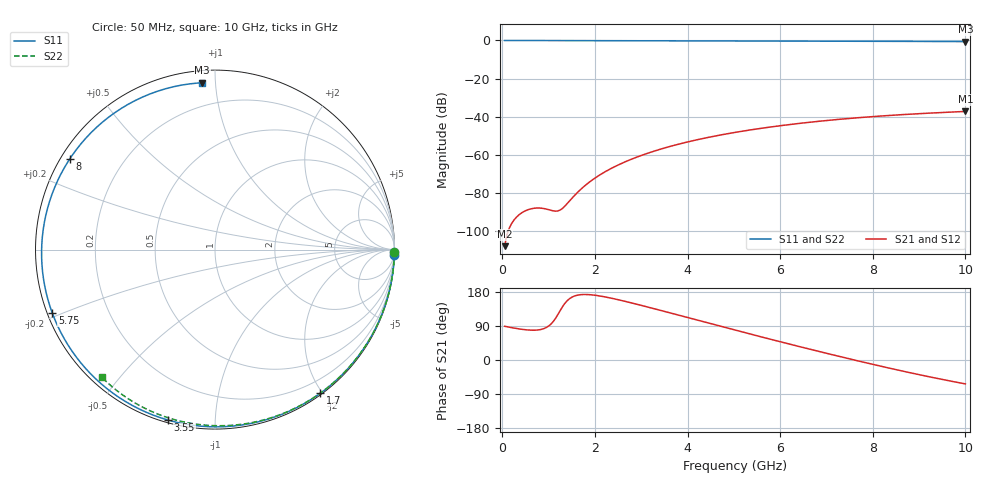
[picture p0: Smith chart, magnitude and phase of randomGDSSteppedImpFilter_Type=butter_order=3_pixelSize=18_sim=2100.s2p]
! freq	dB(S11)	phase(S11)	dB(S12)	phase(S12)
!  dB(S21)	phase(S21)	dB(S22)	phase(S22)
!S-par simulation data
#  GHz  S  DB  R 50
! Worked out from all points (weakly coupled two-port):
!   200 points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, 50 MHz to 10 GHz, reference 50 ohm
!   highest |S21| = -37.23 dB at 10 GHz (marker M1); lowest = -107.9 dB at 50 MHz (marker M2)
!   lowest |S11| = -0.6 dB at 10 GHz (marker M3), VSWR 28.55, Z = 3.25 + j46.2 ohm
!   |S11| at or under -10 dB: nowhere
!   |S22| runs from -0.4 to 0.0 dB; largest |S21 - S12| = 0
!   S11 on the Smith chart (normalised r, x): 50 MHz: 0, -70; 1.7 GHz: 0.02, -1.97; 3.55 GHz: 0.01, -0.76; 5.75 GHz: 0.01, -0.19; 8 GHz: 0.03, +0.29; 10 GHz: 0.07, +0.92
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0.05  -0.00 -1.6  -107.93 89.0  -107.93 89.0  -0.00 -0.8
0.4  -0.02 -13.0  -90.75 81.4  -90.75 81.4  -0.01 -6.1
0.8  -0.03 -25.8  -87.91 79.8  -87.91 79.8  -0.02 -12.1
1.2  -0.05 -38.4  -89.44 120.0  -89.44 120.0  -0.02 -18.1
1.6  -0.06 -50.7  -80.31 170.4  -80.31 170.4  -0.03 -24.1
1.7  -0.07 -53.7  -77.97 172.5  -77.97 172.5  -0.03 -25.5
1.75  -0.07 -55.2  -76.89 172.9  -76.89 172.9  -0.03 -26.3
2.05  -0.08 -64.1  -71.41 170.1  -71.41 170.1  -0.04 -30.7
2.45  -0.09 -75.6  -65.94 160.6  -65.94 160.6  -0.05 -36.5
2.9  -0.11 -88.1  -61.25 147.3  -61.25 147.3  -0.06 -43.0
3.4  -0.12 -101.5  -57.15 131.5  -57.15 131.5  -0.07 -50.0
3.55  -0.13 -105.4  -56.09 126.7  -56.09 126.7  -0.07 -52.1
4.25  -0.16 -123.0  -51.87 103.9  -51.87 103.9  -0.09 -61.7
5.05  -0.20 -142.3  -48.14 78.2  -48.14 78.2  -0.11 -72.4
5.75  -0.24 -158.7  -45.54 56.0  -45.54 56.0  -0.14 -81.4
6.25  -0.27 -170.3  -43.98 40.5  -43.98 40.5  -0.16 -87.7
6.7  -0.30 179.2  -42.75 26.7  -42.75 26.7  -0.18 -93.2
7.35  -0.35 163.9  -41.22 7.3  -41.22 7.3  -0.22 -101.1
8  -0.41 148.0  -39.94 -11.5  -39.94 -11.5  -0.26 -108.8
8.35  -0.44 139.2  -39.35 -21.3  -39.35 -21.3  -0.29 -112.8
9.25  -0.53 115.5  -38.09 -45.1  -38.09 -45.1  -0.37 -123.1
10  -0.61 94.4  -37.23 -63.1  -37.23 -63.1  -0.44 -131.6
